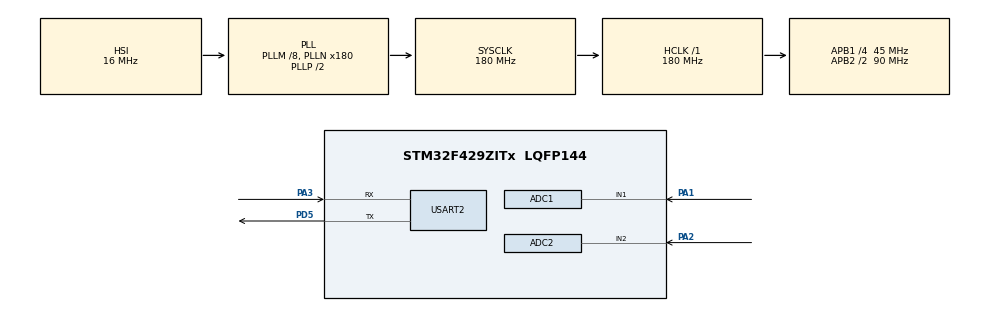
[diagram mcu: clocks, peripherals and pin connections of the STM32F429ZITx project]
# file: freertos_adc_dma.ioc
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ADC1.Channel-1\#ChannelRegularConversion=ADC_CHANNEL_1
ADC1.ContinuousConvMode=ENABLE
ADC1.DMAContinuousRequests=ENABLE
ADC1.NbrOfConversionFlag=1
ADC1.Rank-1\#ChannelRegularConversion=1
ADC1.Resolution=ADC_RESOLUTION_8B
ADC1.SamplingTime-1\#ChannelRegularConversion=ADC_SAMPLETIME_480CYCLES
ADC1.ScanConvMode=ENABLE
ADC1.master=1
ADC2.Channel-0\#ChannelRegularConversion=ADC_CHANNEL_2
ADC2.ContinuousConvMode=ENABLE
ADC2.DMAContinuousRequests=ENABLE
ADC2.NbrOfConversion=1
ADC2.NbrOfConversionFlag=1
ADC2.Rank-0\#ChannelRegularConversion=1
ADC2.Resolution=ADC_RESOLUTION_8B
ADC2.SamplingTime-0\#ChannelRegularConversion=ADC_SAMPLETIME_480CYCLES
ADC2.ScanConvMode=ENABLE
Dma.ADC1.0.Direction=DMA_PERIPH_TO_MEMORY
Dma.ADC1.0.FIFOMode=DMA_FIFOMODE_DISABLE
Dma.ADC1.0.Instance=DMA2_Stream0
Dma.ADC1.0.MemDataAlignment=DMA_MDATAALIGN_HALFWORD
Dma.ADC1.0.MemInc=DMA_MINC_ENABLE
Dma.ADC1.0.Mode=DMA_CIRCULAR
Dma.ADC1.0.PeriphDataAlignment=DMA_PDATAALIGN_HALFWORD
Dma.ADC1.0.PeriphInc=DMA_PINC_DISABLE
Dma.ADC1.0.Priority=DMA_PRIORITY_LOW
Dma.ADC2.1.Direction=DMA_PERIPH_TO_MEMORY
Dma.ADC2.1.FIFOMode=DMA_FIFOMODE_DISABLE
Dma.ADC2.1.Instance=DMA2_Stream2
Dma.ADC2.1.MemDataAlignment=DMA_MDATAALIGN_HALFWORD
Dma.ADC2.1.MemInc=DMA_MINC_ENABLE
Dma.ADC2.1.Mode=DMA_CIRCULAR
Dma.ADC2.1.PeriphDataAlignment=DMA_PDATAALIGN_HALFWORD
Dma.ADC2.1.PeriphInc=DMA_PINC_DISABLE
Dma.ADC2.1.Priority=DMA_PRIORITY_LOW
Dma.Request0=ADC1
Dma.Request1=ADC2
Dma.Request2=USART2_TX
Dma.USART2_TX.2.Direction=DMA_MEMORY_TO_PERIPH
Dma.USART2_TX.2.FIFOMode=DMA_FIFOMODE_DISABLE
Dma.USART2_TX.2.Instance=DMA1_Stream6
Dma.USART2_TX.2.MemDataAlignment=DMA_MDATAALIGN_BYTE
Dma.USART2_TX.2.MemInc=DMA_MINC_ENABLE
Dma.USART2_TX.2.Mode=DMA_CIRCULAR
Dma.USART2_TX.2.PeriphDataAlignment=DMA_PDATAALIGN_BYTE
Dma.USART2_TX.2.PeriphInc=DMA_PINC_DISABLE
Dma.USART2_TX.2.Priority=DMA_PRIORITY_LOW
FREERTOS.INCLUDE_vTaskDelayUntil=1
FREERTOS.Tasks01=defaultTask,0,128,StartDefaultTask,Default,NULL,Dynamic,NULL,NULL;adc2,-1,128,StartTask02,Default,NULL,Dynamic,NULL,NULL
Mcu.Family=STM32F4
Mcu.Name=STM32F429ZITx
Mcu.Package=LQFP144
NVIC.DMA1_Stream6_IRQn=true\:5\:0\:false\:false\:true\:true\:false\:true\:true
NVIC.DMA2_Stream0_IRQn=true\:5\:0\:false\:false\:true\:true\:false\:true\:true
NVIC.DMA2_Stream2_IRQn=true\:5\:0\:false\:false\:true\:true\:false\:true\:true
NVIC.PriorityGroup=NVIC_PRIORITYGROUP_4
PA1.Signal=ADCx_IN1
PA2.Signal=ADCx_IN2
PA3.Mode=Asynchronous
PA3.Signal=USART2_RX
PD5.Mode=Asynchronous
PD5.Signal=USART2_TX
ProjectManager.HeapSize=0x200
ProjectManager.StackSize=0x400
ProjectManager.TargetToolchain=STM32CubeIDE
RCC.48MHZClocksFreq_Value=90000000
RCC.AHBFreq_Value=180000000
RCC.APB1CLKDivider=RCC_HCLK_DIV4
RCC.APB1Freq_Value=45000000
RCC.APB1TimFreq_Value=90000000
RCC.APB2CLKDivider=RCC_HCLK_DIV2
RCC.APB2Freq_Value=90000000
RCC.APB2TimFreq_Value=180000000
RCC.CortexFreq_Value=180000000
RCC.HCLKFreq_Value=180000000
RCC.HSE_VALUE=25000000
RCC.HSI_VALUE=16000000
RCC.LSE_VALUE=32768
RCC.PLLM=8
RCC.PLLN=180
RCC.SYSCLKFreq_VALUE=180000000
RCC.SYSCLKSource=RCC_SYSCLKSOURCE_PLLCLK
RCC.VCOOutputFreq_Value=360000000
SH.ADCx_IN1.0=ADC1_IN1,IN1
SH.ADCx_IN2.0=ADC2_IN2,IN2
USART2.VirtualMode=VM_ASYNC
VP_FREERTOS_VS_CMSIS_V1.Mode=CMSIS_V1
board=custom

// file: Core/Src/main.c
/* USER CODE BEGIN Header */
/**
  ******************************************************************************
  * @file           : main.c
  * @brief          : Main program body
  ******************************************************************************
  * @attention
  *
  * Copyright (c) 2023 STMicroelectronics.
  * All rights reserved.
  *
  * This software is licensed under terms that can be found in the LICENSE file
  * in the root directory of this software component.
  * If no LICENSE file comes with this software, it is provided AS-IS.
  *
  ******************************************************************************
  */
/* USER CODE END Header */
#include "main.h"
#include "cmsis_os.h"

ADC_HandleTypeDef hadc1;
ADC_HandleTypeDef hadc2;
DMA_HandleTypeDef hdma_adc1;
DMA_HandleTypeDef hdma_adc2;

UART_HandleTypeDef huart2;
DMA_HandleTypeDef hdma_usart2_tx;

osThreadId defaultTaskHandle;
osThreadId adc2Handle;
/* USER CODE BEGIN PV */
uint32_t buffer_adc1[5*10], buffer_adc2[5*10];
int count1=0, count2=0, count_uart=0, count_task1=0, count_task2=0;
/* USER CODE END PV */

void SystemClock_Config(void);
static void MX_GPIO_Init(void);
static void MX_DMA_Init(void);
static void MX_ADC1_Init(void);
static void MX_ADC2_Init(void);
static void MX_USART2_UART_Init(void);
void StartDefaultTask(void const * argument);
void StartTask02(void const * argument);

/* USER CODE BEGIN 0 */
void HAL_ADC_ConvCpltCallback(ADC_HandleTypeDef* hadc) {
 if(hadc==&hadc1) {
	 count1++;
 }
 if(hadc==&hadc2) {
	 count2++;
 }
}

void HAL_UART_TxCpltCallback(UART_HandleTypeDef *huart) {
	count_uart++;
}
/* USER CODE END 0 */

int main(void)
{

  /* MCU Configuration--------------------------------------------------------*/

  /* Reset of all peripherals, Initializes the Flash interface and the Systick. */
  HAL_Init();

  /* Configure the system clock */
  SystemClock_Config();

  /* Initialize all configured peripherals */
  MX_GPIO_Init();
  MX_DMA_Init();
  MX_ADC1_Init();
  MX_ADC2_Init();
  MX_USART2_UART_Init();
  /* USER CODE BEGIN 2 */
  HAL_ADC_Start_DMA(&hadc1, buffer_adc1, 10*5);
  HAL_ADC_Start_DMA(&hadc2, buffer_adc2, 10*5);

  /* USER CODE END 2 */

  /* Create the thread(s) */
  /* definition and creation of defaultTask */
  osThreadDef(defaultTask, StartDefaultTask, osPriorityNormal, 0, 128);
  defaultTaskHandle = osThreadCreate(osThread(defaultTask), NULL);

  /* definition and creation of adc2 */
  osThreadDef(adc2, StartTask02, osPriorityBelowNormal, 0, 128);
  adc2Handle = osThreadCreate(osThread(adc2), NULL);

  /* Start scheduler */
  osKernelStart();
  /* We should never get here as control is now taken by the scheduler */
  /* Infinite loop */
  while (1)
  {

  }
}

void SystemClock_Config(void)
{
  RCC_OscInitTypeDef RCC_OscInitStruct = {0};
  RCC_ClkInitTypeDef RCC_ClkInitStruct = {0};

  /** Configure the main internal regulator output voltage
  */
  __HAL_RCC_PWR_CLK_ENABLE();
  __HAL_PWR_VOLTAGESCALING_CONFIG(PWR_REGULATOR_VOLTAGE_SCALE1);

  /** Initializes the RCC Oscillators according to the specified parameters
  * in the RCC_OscInitTypeDef structure.
  */
  RCC_OscInitStruct.OscillatorType = RCC_OSCILLATORTYPE_HSI;
  RCC_OscInitStruct.HSIState = RCC_HSI_ON;
  RCC_OscInitStruct.HSICalibrationValue = RCC_HSICALIBRATION_DEFAULT;
  RCC_OscInitStruct.PLL.PLLState = RCC_PLL_ON;
  RCC_OscInitStruct.PLL.PLLSource = RCC_PLLSOURCE_HSI;
  RCC_OscInitStruct.PLL.PLLM = 8;
  RCC_OscInitStruct.PLL.PLLN = 180;
  RCC_OscInitStruct.PLL.PLLP = RCC_PLLP_DIV2;
  RCC_OscInitStruct.PLL.PLLQ = 4;
  if (HAL_RCC_OscConfig(&RCC_OscInitStruct) != HAL_OK)
  {
    Error_Handler();
  }

  /** Activate the Over-Drive mode
  */
  if (HAL_PWREx_EnableOverDrive() != HAL_OK)
  {
    Error_Handler();
  }

  /** Initializes the CPU, AHB and APB buses clocks
  */
  RCC_ClkInitStruct.ClockType = RCC_CLOCKTYPE_HCLK|RCC_CLOCKTYPE_SYSCLK
                              |RCC_CLOCKTYPE_PCLK1|RCC_CLOCKTYPE_PCLK2;
  RCC_ClkInitStruct.SYSCLKSource = RCC_SYSCLKSOURCE_PLLCLK;
  RCC_ClkInitStruct.AHBCLKDivider = RCC_SYSCLK_DIV1;
  RCC_ClkInitStruct.APB1CLKDivider = RCC_HCLK_DIV4;
  RCC_ClkInitStruct.APB2CLKDivider = RCC_HCLK_DIV2;

  if (HAL_RCC_ClockConfig(&RCC_ClkInitStruct, FLASH_LATENCY_5) != HAL_OK)
  {
    Error_Handler();
  }
}

static void MX_ADC1_Init(void)
{

  ADC_ChannelConfTypeDef sConfig = {0};

  /** Configure the global features of the ADC (Clock, Resolution, Data Alignment and number of conversion)
  */
  hadc1.Instance = ADC1;
  hadc1.Init.ClockPrescaler = ADC_CLOCK_SYNC_PCLK_DIV4;
  hadc1.Init.Resolution = ADC_RESOLUTION_8B;
  hadc1.Init.ScanConvMode = ENABLE;
  hadc1.Init.ContinuousConvMode = ENABLE;
  hadc1.Init.DiscontinuousConvMode = DISABLE;
  hadc1.Init.ExternalTrigConvEdge = ADC_EXTERNALTRIGCONVEDGE_NONE;
  hadc1.Init.ExternalTrigConv = ADC_SOFTWARE_START;
  hadc1.Init.DataAlign = ADC_DATAALIGN_RIGHT;
  hadc1.Init.NbrOfConversion = 1;
  hadc1.Init.DMAContinuousRequests = ENABLE;
  hadc1.Init.EOCSelection = ADC_EOC_SINGLE_CONV;
  if (HAL_ADC_Init(&hadc1) != HAL_OK)
  {
    Error_Handler();
  }

  /** Configure for the selected ADC regular channel its corresponding rank in the sequencer and its sample time.
  */
  sConfig.Channel = ADC_CHANNEL_1;
  sConfig.Rank = 1;
  sConfig.SamplingTime = ADC_SAMPLETIME_480CYCLES;
  if (HAL_ADC_ConfigChannel(&hadc1, &sConfig) != HAL_OK)
  {
    Error_Handler();
  }

}

static void MX_ADC2_Init(void)
{

  ADC_ChannelConfTypeDef sConfig = {0};

  /** Configure the global features of the ADC (Clock, Resolution, Data Alignment and number of conversion)
  */
  hadc2.Instance = ADC2;
  hadc2.Init.ClockPrescaler = ADC_CLOCK_SYNC_PCLK_DIV4;
  hadc2.Init.Resolution = ADC_RESOLUTION_8B;
  hadc2.Init.ScanConvMode = ENABLE;
  hadc2.Init.ContinuousConvMode = ENABLE;
  hadc2.Init.DiscontinuousConvMode = DISABLE;
  hadc2.Init.ExternalTrigConvEdge = ADC_EXTERNALTRIGCONVEDGE_NONE;
  hadc2.Init.ExternalTrigConv = ADC_SOFTWARE_START;
  hadc2.Init.DataAlign = ADC_DATAALIGN_RIGHT;
  hadc2.Init.NbrOfConversion = 1;
  hadc2.Init.DMAContinuousRequests = ENABLE;
  hadc2.Init.EOCSelection = ADC_EOC_SINGLE_CONV;
  if (HAL_ADC_Init(&hadc2) != HAL_OK)
  {
    Error_Handler();
  }

  /** Configure for the selected ADC regular channel its corresponding rank in the sequencer and its sample time.
  */
  sConfig.Channel = ADC_CHANNEL_2;
  sConfig.Rank = 1;
  sConfig.SamplingTime = ADC_SAMPLETIME_480CYCLES;
  if (HAL_ADC_ConfigChannel(&hadc2, &sConfig) != HAL_OK)
  {
    Error_Handler();
  }

}

static void MX_USART2_UART_Init(void)
{

  huart2.Instance = USART2;
  huart2.Init.BaudRate = 115200;
  huart2.Init.WordLength = UART_WORDLENGTH_8B;
  huart2.Init.StopBits = UART_STOPBITS_1;
  huart2.Init.Parity = UART_PARITY_NONE;
  huart2.Init.Mode = UART_MODE_TX_RX;
  huart2.Init.HwFlowCtl = UART_HWCONTROL_NONE;
  huart2.Init.OverSampling = UART_OVERSAMPLING_16;
  if (HAL_UART_Init(&huart2) != HAL_OK)
  {
    Error_Handler();
  }

}

static void MX_DMA_Init(void)
{

  /* DMA controller clock enable */
  __HAL_RCC_DMA2_CLK_ENABLE();
  __HAL_RCC_DMA1_CLK_ENABLE();

  /* DMA interrupt init */
  /* DMA1_Stream6_IRQn interrupt configuration */
  HAL_NVIC_SetPriority(DMA1_Stream6_IRQn, 5, 0);
  HAL_NVIC_EnableIRQ(DMA1_Stream6_IRQn);
  /* DMA2_Stream0_IRQn interrupt configuration */
  HAL_NVIC_SetPriority(DMA2_Stream0_IRQn, 5, 0);
  HAL_NVIC_EnableIRQ(DMA2_Stream0_IRQn);
  /* DMA2_Stream2_IRQn interrupt configuration */
  HAL_NVIC_SetPriority(DMA2_Stream2_IRQn, 5, 0);
  HAL_NVIC_EnableIRQ(DMA2_Stream2_IRQn);

}

static void MX_GPIO_Init(void)
{

  /* GPIO Ports Clock Enable */
  __HAL_RCC_GPIOA_CLK_ENABLE();
  __HAL_RCC_GPIOD_CLK_ENABLE();

}

void StartDefaultTask(void const * argument)
{
  /* USER CODE BEGIN 5 */
	/*
	uint32_t mean, time;
	uint32_t val1;
  	 // Infinite loop
  for(;;)
  {
	  mean=0;
	  time = xTaskGetTickCount();
	  for (int i=0;i<30000;i++) {
		  HAL_ADC_Start(&hadc1);
		  val1 = HAL_ADC_GetValue(&hadc1);
		  HAL_ADC_Stop(&hadc1);
	  }
	  mean += xTaskGetTickCount()-time;
	  printf("freq1: %lu khz\n", 30000/mean);
	  HAL_ADC_Start(&hadc1);
	  val1 = HAL_ADC_GetValue(&hadc1);
	  HAL_ADC_Stop(&hadc1);
	  printf("adc1: %lu (8bit), mean1: %lu ms, time1: %lu\n", val1, mean, xTaskGetTickCount());
	  osDelay(500);
  }
  */
	uint32_t begin1=HAL_GetTick();
	for(;;) {
		begin1=HAL_GetTick();
		count_task1++;
		vTaskDelayUntil(&begin1, 300);
	}
  /* USER CODE END 5 */
}

void StartTask02(void const * argument)
{
  /* USER CODE BEGIN StartTask02 */
	/*
	uint32_t mean2, time2;
	uint32_t val2;
  // Infinite loop
  for(;;)
  {
	  mean2=0;
	  time2 = xTaskGetTickCount();
	  for (int i=0;i<30000;i++) {
		  HAL_ADC_Start(&hadc2);
		  val2 = HAL_ADC_GetValue(&hadc2);
		  HAL_ADC_Stop(&hadc2);
	  }
	  mean2 += xTaskGetTickCount()-time2;
	  printf("freq2: %lu khz\n", 30000/mean2);
	  HAL_ADC_Start(&hadc2);
	  val2 = HAL_ADC_GetValue(&hadc2);
	  HAL_ADC_Stop(&hadc1);
	  printf("adc2: %lu (8bit), mean2: %lu ms, time2: %lu\n", val2, mean2, xTaskGetTickCount());
	  osDelay(500);
  }
  */

  uint32_t begin2=HAL_GetTick();
  	for(;;) {
  		begin2=HAL_GetTick();
  		count_task2++;
  		vTaskDelayUntil(&begin2, 500);
  	}
  /* USER CODE END StartTask02 */
}

void Error_Handler(void)
{
  __disable_irq();
  while (1)
  {
  }
}
